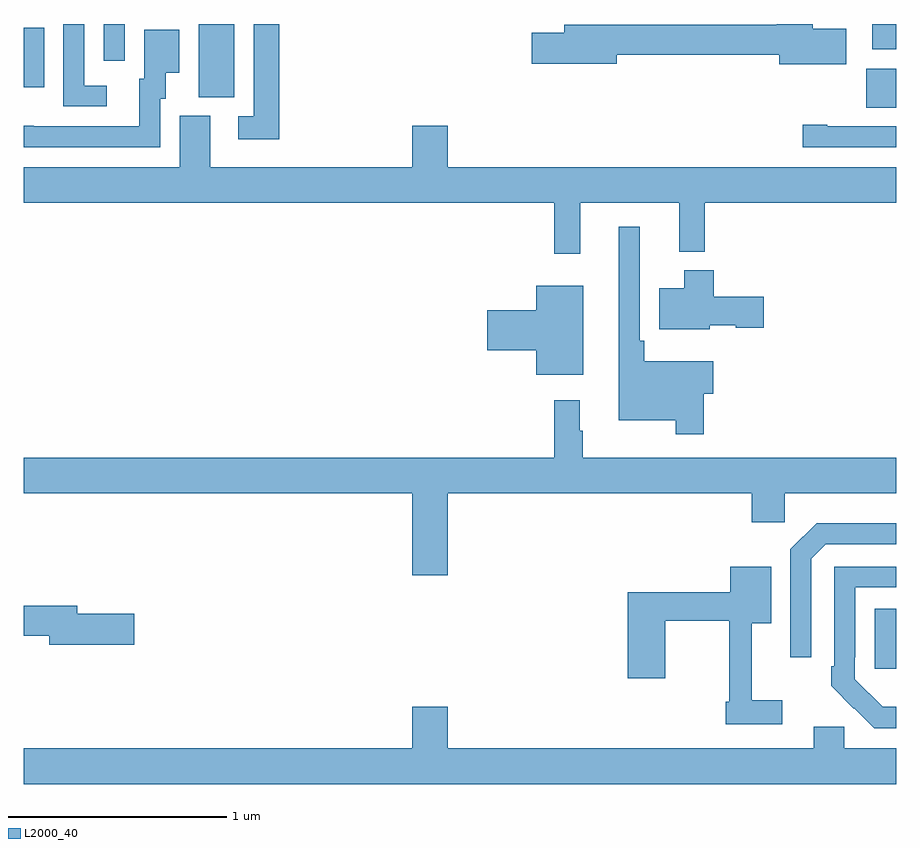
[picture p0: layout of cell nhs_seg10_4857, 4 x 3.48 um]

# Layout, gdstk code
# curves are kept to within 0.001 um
import gdstk
lib = gdstk.Library(unit=1e-6, precision=1e-09)
def R(c, l, rs):  # rectangles x0, y0, x1, y1
    for r in rs: c.add(gdstk.rectangle(r[:2], r[2:], *l))
def P(c, l, *ps):  # polygons
    for p in ps: c.add(gdstk.Polygon(p, *l))
L2000_40 = (2000, 40)

nhs_seg10_4857 = lib.new_cell('nhs_seg10_4857')
R(nhs_seg10_4857, L2000_40, [(394.901,1267.545,395,1267.819), (394.862,1270.117,395,1270.296), (391.802,1270.165,391.966,1270.5), (391,1270.209,391.093,1270.483), (391.368,1270.332,391.464,1270.5), (394.889,1270.385,395,1270.5)])
P(nhs_seg10_4857, L2000_40, [(394.771,1270.479),(394.618,1270.479),(394.618,1270.5),(394.451,1270.5),(394.451,1270.496),(393.479,1270.496),(393.479,1270.46),(393.33,1270.46),(393.33,1270.318),(393.718,1270.318),(393.718,1270.36),(394.463,1270.36),(394.463,1270.316),(394.771,1270.316)],
  [(392.171,1270.5),(392.055,1270.5),(392.055,1270.077),(391.983,1270.077),(391.983,1269.972),(392.171,1269.972)],
  [(391.381,1270.218),(391.278,1270.218),(391.278,1270.5),(391.182,1270.5),(391.182,1270.122),(391.381,1270.122)],
  [(391.626,1270.158),(391.651,1270.158),(391.651,1270.277),(391.714,1270.277),(391.714,1270.474),(391.553,1270.474),(391.553,1270.248),(391.529,1270.248),(391.529,1270.032),(391.045,1270.032),(391.045,1270.033),(391,1270.033),(391,1269.936),(391.626,1269.936)],
  [(393.551,1269.68),(394.004,1269.68),(394.004,1269.455),(394.121,1269.455),(394.121,1269.68),(395,1269.68),(395,1269.844),(392.944,1269.844),(392.944,1270.033),(392.78,1270.033),(392.78,1269.844),(391.855,1269.844),(391.855,1270.08),(391.715,1270.08),(391.715,1269.844),(391,1269.844),(391,1269.68),(393.433,1269.68),(393.433,1269.447),(393.551,1269.447)],
  [(395,1270.032),(394.684,1270.032),(394.684,1270.037),(394.572,1270.037),(394.572,1269.936),(395,1269.936)],
  [(394.118,1268.806),(394.162,1268.806),(394.162,1268.953),(393.845,1268.953),(393.845,1269.049),(393.825,1269.049),(393.825,1269.571),(393.728,1269.571),(393.728,1268.684),(393.99,1268.684),(393.99,1268.619),(394.118,1268.619)],
  [(394.146,1269.119),(394.263,1269.119),(394.263,1269.107),(394.393,1269.107),(394.393,1269.249),(394.163,1269.249),(394.163,1269.37),(394.028,1269.37),(394.028,1269.289),(393.914,1269.289),(393.914,1269.101),(394.146,1269.101)],
  [(393.565,1269.301),(393.35,1269.301),(393.35,1269.188),(393.126,1269.188),(393.126,1269.005),(393.35,1269.005),(393.35,1268.891),(393.565,1268.891)],
  [(391,1268.348),(392.78,1268.348),(392.78,1267.974),(392.944,1267.974),(392.944,1268.348),(394.337,1268.348),(394.337,1268.217),(394.488,1268.217),(394.488,1268.348),(395,1268.348),(395,1268.512),(393.562,1268.512),(393.562,1268.636),(393.55,1268.636),(393.55,1268.776),(393.433,1268.776),(393.433,1268.512),(391,1268.512)],
  [(394.611,1268.049),(394.677,1268.115),(395,1268.115),(395,1268.212),(394.636,1268.212),(394.515,1268.091),(394.515,1267.596),(394.611,1267.596)],
  [(395,1267.369),(394.938,1267.369),(394.809,1267.497),(394.809,1267.597),(394.812,1267.597),(394.812,1267.917),(395,1267.917),(395,1268.013),(394.716,1268.013),(394.716,1267.555),(394.701,1267.555),(394.701,1267.467),(394.898,1267.272),(395,1267.272)],
  [(394.477,1267.399),(394.337,1267.399),(394.337,1267.754),(394.426,1267.754),(394.426,1268.011),(394.238,1268.011),(394.238,1267.894),(393.77,1267.894),(393.77,1267.5),(393.94,1267.5),(393.94,1267.765),(394.234,1267.765),(394.234,1267.393),(394.219,1267.393),(394.219,1267.29),(394.477,1267.29)],
  [(391.507,1267.796),(391.246,1267.796),(391.246,1267.832),(391,1267.832),(391,1267.696),(391.118,1267.696),(391.118,1267.654),(391.507,1267.654)],
  [(395,1267.18),(394.761,1267.18),(394.761,1267.278),(394.622,1267.278),(394.622,1267.18),(392.944,1267.18),(392.944,1267.369),(392.78,1267.369),(392.78,1267.18),(391,1267.18),(391,1267.016),(395,1267.016)])

lib.write_gds('nhs_seg10_4857.gds')
